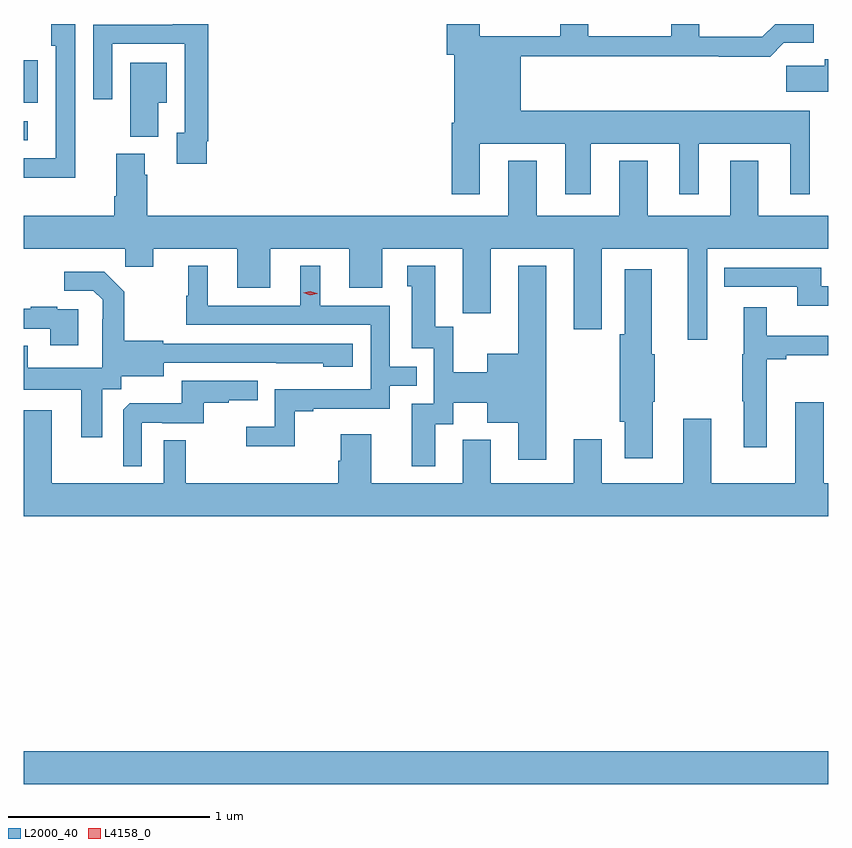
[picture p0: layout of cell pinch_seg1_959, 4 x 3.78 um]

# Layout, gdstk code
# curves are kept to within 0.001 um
import gdstk
lib = gdstk.Library(unit=1e-6, precision=1e-09)
def R(c, l, rs):  # rectangles x0, y0, x1, y1
    for r in rs: c.add(gdstk.rectangle(r[:2], r[2:], *l))
def P(c, l, *ps):  # polygons
    for p in ps: c.add(gdstk.Polygon(p, *l))
L2000_40 = (2000, 40)
L4158_0 = (4158, 0)

pinch_seg1_959 = lib.new_cell('pinch_seg1_959')
R(pinch_seg1_959, L2000_40, [(347.743,538.412,351.743,538.576), (347.743,541.614,347.761,541.71), (347.743,541.802,347.812,542.013)])
P(pinch_seg1_959, L2000_40, [(347.999,541.73),(347.997,541.73),(347.997,542.193),(347.879,542.193),(347.879,542.085),(347.901,542.085),(347.901,541.524),(347.743,541.524),(347.743,541.427),(347.999,541.427)],
  [(350.011,541.598),(350.435,541.598),(350.435,541.347),(350.563,541.347),(350.563,541.598),(351.002,541.598),(351.002,541.347),(351.1,541.347),(351.1,541.598),(351.554,541.598),(351.554,541.347),(351.652,541.347),(351.652,541.762),(350.215,541.762),(350.215,542.032),(351.199,542.032),(351.199,542.03),(351.455,542.03),(351.524,542.099),(351.673,542.099),(351.673,542.193),(351.48,542.193),(351.417,542.13),(351.103,542.13),(351.103,542.193),(350.963,542.193),(350.963,542.133),(350.551,542.133),(350.551,542.193),(350.411,542.193),(350.411,542.133),(350.011,542.133),(350.011,542.193),(349.847,542.193),(349.847,542.04),(349.883,542.04),(349.883,541.702),(349.871,541.702),(349.871,541.347),(350.011,541.347)],
  [(348.652,541.609),(348.659,541.609),(348.659,542.193),(348.483,542.193),(348.483,542.19),(348.087,542.19),(348.087,541.818),(348.183,541.818),(348.183,542.094),(348.543,542.094),(348.543,541.653),(348.503,541.653),(348.503,541.497),(348.652,541.497)],
  [(351.743,542.017),(351.728,542.017),(351.728,541.985),(351.534,541.985),(351.534,541.856),(351.743,541.856)],
  [(348.412,541.802),(348.454,541.802),(348.454,541.999),(348.272,541.999),(348.272,541.633),(348.412,541.633)],
  [(351.141,541.076),(351.743,541.076),(351.743,541.24),(351.397,541.24),(351.397,541.513),(351.257,541.513),(351.257,541.24),(350.845,541.24),(350.845,541.513),(350.705,541.513),(350.705,541.24),(350.293,541.24),(350.293,541.513),(350.153,541.513),(350.153,541.24),(348.356,541.24),(348.356,541.442),(348.343,541.442),(348.343,541.548),(348.203,541.548),(348.203,541.336),(348.191,541.336),(348.191,541.24),(347.743,541.24),(347.743,541.076),(348.247,541.076),(348.247,540.986),(348.385,540.986),(348.385,541.076),(348.803,541.076),(348.803,540.882),(348.967,540.882),(348.967,541.076),(349.361,541.076),(349.361,540.882),(349.525,540.882),(349.525,541.076),(349.925,541.076),(349.925,540.865),(349.926,540.865),(349.926,540.753),(350.065,540.753),(350.065,541.076),(350.477,541.076),(350.477,540.675),(350.617,540.675),(350.617,541.076),(351.044,541.076),(351.044,540.621),(351.141,540.621)],
  [(349.789,540.202),(349.879,540.202),(349.879,540.308),(350.048,540.308),(350.048,540.209),(350.201,540.209),(350.201,540.024),(350.341,540.024),(350.341,540.991),(350.201,540.991),(350.201,540.553),(350.048,540.553),(350.048,540.46),(349.878,540.46),(349.878,540.687),(349.789,540.687),(349.789,540.991),(349.649,540.991),(349.649,540.888),(349.673,540.888),(349.673,540.579),(349.782,540.579),(349.782,540.303),(349.673,540.303),(349.673,539.994),(349.789,539.994)],
  [(349.089,540.267),(349.183,540.267),(349.183,540.279),(349.563,540.279),(349.563,540.393),(349.697,540.393),(349.697,540.489),(349.563,540.489),(349.563,540.792),(349.216,540.792),(349.216,540.991),(349.118,540.991),(349.118,540.792),(348.658,540.792),(348.658,540.991),(348.56,540.991),(348.56,540.84),(348.549,540.84),(348.549,540.696),(349.467,540.696),(349.467,540.375),(348.99,540.375),(348.99,540.19),(348.849,540.19),(348.849,540.092),(349.089,540.092)],
  [(351.743,540.888),(351.709,540.888),(351.709,540.981),(351.226,540.981),(351.226,540.885),(351.59,540.885),(351.59,540.791),(351.743,540.791)],
  [(350.872,540.313),(350.88,540.313),(350.88,540.549),(350.866,540.549),(350.866,540.973),(350.732,540.973),(350.732,540.649),(350.707,540.649),(350.707,540.213),(350.732,540.213),(350.732,540.033),(350.872,540.033)],
  [(348.133,540.376),(348.228,540.376),(348.228,540.44),(348.439,540.44),(348.439,540.507),(349.233,540.506),(349.233,540.488),(349.378,540.488),(349.378,540.603),(348.435,540.603),(348.435,540.616),(348.243,540.616),(348.243,540.861),(348.143,540.961),(347.943,540.961),(347.943,540.867),(348.087,540.867),(348.134,540.82),(348.134,540.725),(348.132,540.725),(348.132,540.484),(347.761,540.484),(347.761,540.593),(347.743,540.593),(347.743,540.374),(348.029,540.374),(348.029,540.138),(348.133,540.138)],
  [(348.013,540.774),(347.909,540.774),(347.909,540.787),(347.777,540.787),(347.777,540.776),(347.743,540.776),(347.743,540.678),(347.873,540.678),(347.873,540.594),(348.013,540.594)],
  [(351.439,540.526),(351.535,540.526),(351.535,540.544),(351.713,540.544),(351.713,540.546),(351.743,540.546),(351.743,540.643),(351.439,540.643),(351.439,540.784),(351.323,540.784),(351.323,540.549),(351.316,540.549),(351.316,540.316),(351.323,540.316),(351.323,540.087),(351.439,540.087)],
  [(348.33,540.21),(348.43,540.21),(348.43,540.207),(348.638,540.207),(348.638,540.309),(348.761,540.309),(348.761,540.32),(348.905,540.32),(348.905,540.417),(348.528,540.417),(348.528,540.305),(348.269,540.305),(348.237,540.273),(348.237,539.993),(348.33,539.993)],
  [(351.743,539.908),(351.721,539.908),(351.721,540.31),(351.581,540.31),(351.581,539.908),(351.163,539.908),(351.163,540.229),(351.023,540.229),(351.023,539.908),(350.617,539.908),(350.617,540.127),(350.477,540.127),(350.477,539.908),(350.065,539.908),(350.065,540.124),(349.925,540.124),(349.925,539.908),(349.471,539.908),(349.471,540.151),(349.319,540.151),(349.319,540.021),(349.307,540.021),(349.307,539.908),(348.547,539.908),(348.547,540.122),(348.438,540.122),(348.438,539.908),(347.881,539.908),(347.881,540.271),(347.743,540.271),(347.743,539.744),(351.743,539.744)])
P(pinch_seg1_959, L4158_0, [(349.167,540.844),(349.132,540.855),(349.131,540.855),(349.132,540.856),(349.167,540.864),(349.202,540.853),(349.203,540.853),(349.202,540.852)])

lib.write_gds('pinch_seg1_959.gds')
